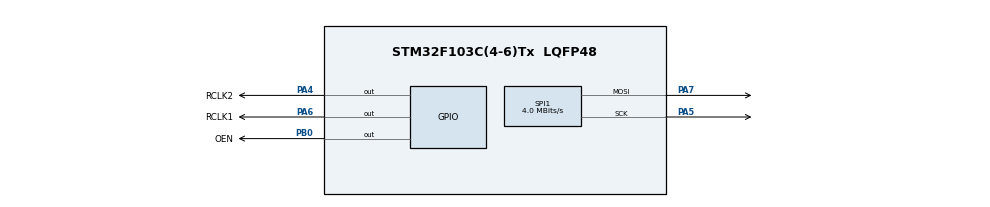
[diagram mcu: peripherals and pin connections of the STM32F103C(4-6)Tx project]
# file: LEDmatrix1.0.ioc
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Mcu.Family=STM32F1
Mcu.Name=STM32F103C(4-6)Tx
Mcu.Package=LQFP48
NVIC.PriorityGroup=NVIC_PRIORITYGROUP_4
NVIC.SPI1_IRQn=true\:0\:0\:false\:false\:true\:true\:true\:true
PA13.Mode=Serial_Wire
PA13.Signal=SYS_JTMS-SWDIO
PA14.Mode=Serial_Wire
PA14.Signal=SYS_JTCK-SWCLK
PA4.GPIO_Label=RCLK2
PA4.Signal=GPIO_Output
PA5.Mode=TX_Only_Simplex_Unidirect_Master
PA5.Signal=SPI1_SCK
PA6.GPIO_Label=RCLK1
PA6.Signal=GPIO_Output
PA7.Mode=TX_Only_Simplex_Unidirect_Master
PA7.Signal=SPI1_MOSI
PB0.GPIO_Label=OEN
PB0.Signal=GPIO_Output
ProjectManager.HeapSize=0x200
ProjectManager.StackSize=0x400
ProjectManager.TargetToolchain=STM32CubeIDE
RCC.APB1Freq_Value=8000000
RCC.APB2Freq_Value=8000000
SPI1.CalculateBaudRate=4.0 MBits/s
SPI1.Direction=SPI_DIRECTION_2LINES
SPI1.Mode=SPI_MODE_MASTER
SPI1.VirtualType=VM_MASTER
board=custom

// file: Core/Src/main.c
/* USER CODE BEGIN Header */
/**
  ******************************************************************************
  * @file           : main.c
  * @brief          : Main program body
  ******************************************************************************
  * @attention
  *
  * Copyright (c) 2026 STMicroelectronics.
  * All rights reserved.
  *
  * This software is licensed under terms that can be found in the LICENSE file
  * in the root directory of this software component.
  * If no LICENSE file comes with this software, it is provided AS-IS.
  *
  ******************************************************************************
  */
/* USER CODE END Header */
#include "main.h"

/* USER CODE BEGIN PD */
#define LED GPIO_PIN_13//GPIOC
#define RCLK1 GPIO_PIN_6//GPIOA
#define RCLK2 GPIO_PIN_4//GPIOA
#define OEN GPIO_PIN_0// GPIOB

/* USER CODE END PD */

SPI_HandleTypeDef hspi1;

void SystemClock_Config(void);
static void MX_GPIO_Init(void);
static void MX_SPI1_Init(void);

int main(void)
{

  /* MCU Configuration--------------------------------------------------------*/

  /* Reset of all peripherals, Initializes the Flash interface and the Systick. */
  HAL_Init();

  /* Configure the system clock */
  SystemClock_Config();

  /* Initialize all configured peripherals */
  MX_GPIO_Init();
  MX_SPI1_Init();
  /* USER CODE BEGIN 2 */
  HAL_GPIO_WritePin(GPIOB, OEN, 1);
  uint32_t Speed=20;
  uint8_t SerialData1=0b11111111;
  uint8_t SerialData20=0b00000001;
  uint8_t SerialData21=0b00000000;

  /* USER CODE END 2 */

  /* Infinite loop */
  /* USER CODE BEGIN WHILE */
  while (1)
  {
	  HAL_GPIO_WritePin(GPIOB, OEN, 1);

	  HAL_SPI_Transmit(&hspi1, &SerialData20, 1, 500);
	  HAL_GPIO_WritePin(GPIOA, RCLK2,1);
	  HAL_Delay(Speed);
	  HAL_GPIO_WritePin(GPIOA, RCLK2, 0);
	  HAL_Delay(Speed);

	  HAL_SPI_Transmit(&hspi1, &SerialData1, 1, 500);
	  HAL_GPIO_WritePin(GPIOA, RCLK1,1);
	  HAL_Delay(Speed);
	  HAL_GPIO_WritePin(GPIOA, RCLK1,0);
	  HAL_Delay(Speed);

	  HAL_GPIO_WritePin(GPIOB, OEN, 0);

	  HAL_Delay(1000);

	  HAL_GPIO_WritePin(GPIOB, OEN, 1);
	  HAL_SPI_Transmit(&hspi1, &SerialData21, 1, 500);
	  HAL_GPIO_WritePin(GPIOA, RCLK2,1);
	  HAL_Delay(Speed);
	  HAL_GPIO_WritePin(GPIOA, RCLK2, 0);
	  HAL_Delay(Speed);

	  HAL_SPI_Transmit(&hspi1, &SerialData1, 1, 500);
	  HAL_GPIO_WritePin(GPIOA, RCLK1,1);
	  HAL_Delay(Speed);
	  HAL_GPIO_WritePin(GPIOA, RCLK1,0);
	  HAL_Delay(Speed);

	  HAL_GPIO_WritePin(GPIOB, OEN, 0);

	  HAL_Delay(1000);

    /* USER CODE END WHILE */

  }
}

void SystemClock_Config(void)
{
  RCC_OscInitTypeDef RCC_OscInitStruct = {0};
  RCC_ClkInitTypeDef RCC_ClkInitStruct = {0};

  /** Initializes the RCC Oscillators according to the specified parameters
  * in the RCC_OscInitTypeDef structure.
  */
  RCC_OscInitStruct.OscillatorType = RCC_OSCILLATORTYPE_HSI;
  RCC_OscInitStruct.HSIState = RCC_HSI_ON;
  RCC_OscInitStruct.HSICalibrationValue = RCC_HSICALIBRATION_DEFAULT;
  RCC_OscInitStruct.PLL.PLLState = RCC_PLL_NONE;
  if (HAL_RCC_OscConfig(&RCC_OscInitStruct) != HAL_OK)
  {
    Error_Handler();
  }

  /** Initializes the CPU, AHB and APB buses clocks
  */
  RCC_ClkInitStruct.ClockType = RCC_CLOCKTYPE_HCLK|RCC_CLOCKTYPE_SYSCLK
                              |RCC_CLOCKTYPE_PCLK1|RCC_CLOCKTYPE_PCLK2;
  RCC_ClkInitStruct.SYSCLKSource = RCC_SYSCLKSOURCE_HSI;
  RCC_ClkInitStruct.AHBCLKDivider = RCC_SYSCLK_DIV1;
  RCC_ClkInitStruct.APB1CLKDivider = RCC_HCLK_DIV1;
  RCC_ClkInitStruct.APB2CLKDivider = RCC_HCLK_DIV1;

  if (HAL_RCC_ClockConfig(&RCC_ClkInitStruct, FLASH_LATENCY_0) != HAL_OK)
  {
    Error_Handler();
  }
}

static void MX_SPI1_Init(void)
{

  /* SPI1 parameter configuration*/
  hspi1.Instance = SPI1;
  hspi1.Init.Mode = SPI_MODE_MASTER;
  hspi1.Init.Direction = SPI_DIRECTION_2LINES;
  hspi1.Init.DataSize = SPI_DATASIZE_8BIT;
  hspi1.Init.CLKPolarity = SPI_POLARITY_LOW;
  hspi1.Init.CLKPhase = SPI_PHASE_1EDGE;
  hspi1.Init.NSS = SPI_NSS_SOFT;
  hspi1.Init.BaudRatePrescaler = SPI_BAUDRATEPRESCALER_2;
  hspi1.Init.FirstBit = SPI_FIRSTBIT_MSB;
  hspi1.Init.TIMode = SPI_TIMODE_DISABLE;
  hspi1.Init.CRCCalculation = SPI_CRCCALCULATION_DISABLE;
  hspi1.Init.CRCPolynomial = 10;
  if (HAL_SPI_Init(&hspi1) != HAL_OK)
  {
    Error_Handler();
  }

}

static void MX_GPIO_Init(void)
{
  GPIO_InitTypeDef GPIO_InitStruct = {0};

  /* GPIO Ports Clock Enable */
  __HAL_RCC_GPIOA_CLK_ENABLE();
  __HAL_RCC_GPIOB_CLK_ENABLE();

  /*Configure GPIO pin Output Level */
  HAL_GPIO_WritePin(GPIOA, RCLK2_Pin|RCLK1_Pin, GPIO_PIN_RESET);

  /*Configure GPIO pin Output Level */
  HAL_GPIO_WritePin(OEN_GPIO_Port, OEN_Pin, GPIO_PIN_RESET);

  /*Configure GPIO pins : RCLK2_Pin RCLK1_Pin */
  GPIO_InitStruct.Pin = RCLK2_Pin|RCLK1_Pin;
  GPIO_InitStruct.Mode = GPIO_MODE_OUTPUT_PP;
  GPIO_InitStruct.Pull = GPIO_NOPULL;
  GPIO_InitStruct.Speed = GPIO_SPEED_FREQ_LOW;
  HAL_GPIO_Init(GPIOA, &GPIO_InitStruct);

  /*Configure GPIO pin : OEN_Pin */
  GPIO_InitStruct.Pin = OEN_Pin;
  GPIO_InitStruct.Mode = GPIO_MODE_OUTPUT_PP;
  GPIO_InitStruct.Pull = GPIO_NOPULL;
  GPIO_InitStruct.Speed = GPIO_SPEED_FREQ_LOW;
  HAL_GPIO_Init(OEN_GPIO_Port, &GPIO_InitStruct);

}

void Error_Handler(void)
{
  __disable_irq();
  while (1)
  {
  }
}
